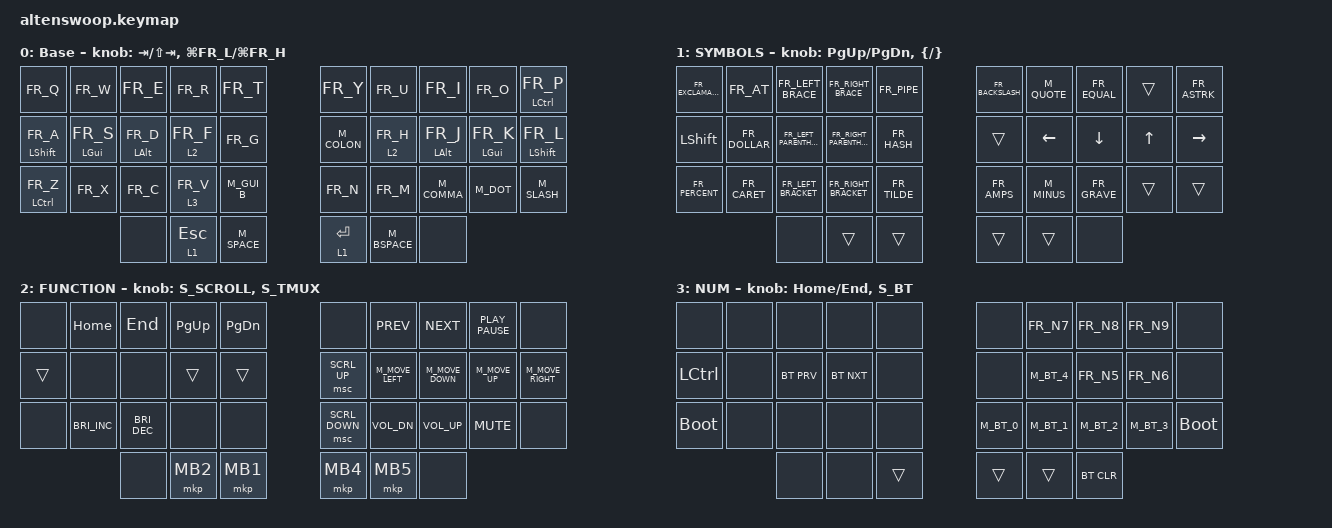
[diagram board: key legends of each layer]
/*
 * Copyright (c) 2020 duckyb
 *
 * SPDX-License-Identifier: MIT
 */

#include "keys_fr.h"

#include <behaviors.dtsi>
#include <dt-bindings/zmk/bt.h>
#include <dt-bindings/zmk/keys.h>
#include <dt-bindings/zmk/pointing.h>

#define ENCODER_SCROLL_VAL 80
#define ZMK_MOUSE_FAST_MOVE_VAL 1200
#define MOVE_FAST_UP MOVE_Y(-ZMK_MOUSE_FAST_MOVE_VAL)
#define MOVE_FAST_DOWN MOVE_Y(ZMK_MOUSE_FAST_MOVE_VAL)
#define MOVE_FAST_LEFT MOVE_X(-ZMK_MOUSE_FAST_MOVE_VAL)
#define MOVE_FAST_RIGHT MOVE_X(ZMK_MOUSE_FAST_MOVE_VAL)

&mt {
    require-prior-idle-ms = <100>;
    flavor = "tap-preferred";
    quick-tap-ms = <200>;
};

/ {
    behaviors {
        tab_esc_ctrl: tab_esc_ctrl {
            compatible = "zmk,behavior-tap-dance";
            label = "TAB_ESC_CTRL";
            #binding-cells = <0>;
            bindings = <&mt LCTRL ESC>, <&kp TAB>;
        };

        gqt: global-quick-tap {
            compatible = "zmk,behavior-hold-tap";
            label = "GLOBAL_QUICK_TAP";
            bindings = <&kp>, <&kp>;

            #binding-cells = <2>;
            quick-tap-ms = <180>;
            tapping-term-ms = <200>;
            global-quick-tap;
        };

        ltq: ltq {
            compatible = "zmk,behavior-hold-tap";
            label = "LTQ";
            bindings = <&mo>, <&kp>;

            #binding-cells = <2>;
            global-quick-tap;
            tapping-term-ms = <200>;
            quick-tap-ms = <180>;
        };

        M_BSPACE: M_BSPACE {
            compatible = "zmk,behavior-mod-morph";
            label = "M_BSPACE";
            bindings = <&kp BACKSPACE>, <&kp DELETE>;

            #binding-cells = <0>;
            mods = <(MOD_LSFT)>;
        };

        M_COLON: M_COLON {
            compatible = "zmk,behavior-mod-morph";
            label = "M_COLON";
            bindings = <&kp FR_COLON>, <&kp FR_SEMICOLON>;

            #binding-cells = <0>;
            mods = <(MOD_LSFT)>;
        };

        M_QUOTE: M_QUOTE {
            compatible = "zmk,behavior-mod-morph";
            label = "M_QUOTE";
            bindings = <&kp FR_SINGLE_QUOTE>, <&kp FR_DOUBLE_QUOTES>;

            #binding-cells = <0>;
            mods = <(MOD_LSFT)>;
        };

        M_BSLASH: M_BSLASH {
            compatible = "zmk,behavior-mod-morph";
            label = "M_BSLASH";
            bindings = <&kp FR_BACKSLASH>, <&kp FR_PIPE>;

            #binding-cells = <0>;
            mods = <(MOD_LSFT)>;
        };

        M_COMMA: M_COMMA {
            compatible = "zmk,behavior-mod-morph";
            label = "M_COMMA";
            bindings = <&kp FR_COMMA>, <&kp FR_LESS_THAN>;

            #binding-cells = <0>;
            mods = <(MOD_LSFT)>;
        };

        M_DOT: M_DOT {
            compatible = "zmk,behavior-mod-morph";
            label = "M_DOT";
            bindings = <&kp FR_DOT>, <&kp FR_GREATER_THAN>;

            #binding-cells = <0>;
            mods = <(MOD_LSFT)>;
        };

        M_SLASH: M_SLASH {
            compatible = "zmk,behavior-mod-morph";
            label = "M_SLASH";
            bindings = <&kp FR_SLASH>, <&kp FR_QUESTION>;

            #binding-cells = <0>;
            mods = <(MOD_LSFT)>;
        };

        M_MINUS: M_MINUS {
            compatible = "zmk,behavior-mod-morph";
            label = "M_MINUS";
            bindings = <&kp FR_MINUS>, <&kp FR_UNDERSCORE>;

            #binding-cells = <0>;
            mods = <(MOD_LSFT)>;
        };

        M_GRAVE: M_GRAVE {
            compatible = "zmk,behavior-mod-morph";
            label = "M_GRAVE";
            bindings = <&kp FR_GRAVE>, <&kp FR_TILDE>;

            #binding-cells = <0>;
            mods = <(MOD_LSFT)>;
        };

        M_SPACE: M_SPACE {
            compatible = "zmk,behavior-mod-morph";
            label = "M_SPACE";
            bindings = <&kp SPACE>, <&kp TAB>;

            #binding-cells = <0>;
            mods = <(MOD_LSFT)>;
        };

        M_GUI_B: M_GUI_B {
            compatible = "zmk,behavior-mod-morph";
            label = "M_GUI_B";
            bindings = <&kp FR_B>, <&kp LC(FR_B)>;

            #binding-cells = <0>;
            mods = <(MOD_LGUI)>;
        };

        M_MOVE_LEFT: M_MOVE_LEFT {
            compatible = "zmk,behavior-mod-morph";
            label = "M_MOVE_LEFT";
            bindings = <&mmv MOVE_LEFT>, <&mmv MOVE_FAST_LEFT>;

            #binding-cells = <0>;
            mods = <(MOD_LSFT)>;
        };

        M_MOVE_DOWN: M_MOVE_DOWN {
            compatible = "zmk,behavior-mod-morph";
            label = "M_MOVE_DOWN";
            bindings = <&mmv MOVE_DOWN>, <&mmv MOVE_FAST_DOWN>;

            #binding-cells = <0>;
            mods = <(MOD_LSFT)>;
        };

        M_MOVE_UP: M_MOVE_UP {
            compatible = "zmk,behavior-mod-morph";
            label = "M_MOVE_UP";
            bindings = <&mmv MOVE_UP>, <&mmv MOVE_FAST_UP>;

            #binding-cells = <0>;
            mods = <(MOD_LSFT)>;
        };

        M_MOVE_RIGHT: M_MOVE_RIGHT {
            compatible = "zmk,behavior-mod-morph";
            label = "M_MOVE_RIGHT";
            bindings = <&mmv MOVE_RIGHT>, <&mmv MOVE_FAST_RIGHT>;

            #binding-cells = <0>;
            mods = <(MOD_LSFT)>;
        };

        S_TMUX: S_TMUX {
            compatible = "zmk,behavior-sensor-rotate";
            label = "S_TMUX";
            #sensor-binding-cells = <0>;
            bindings = <&M_TMUX_N>, <&M_TMUX_P>;
        };

        S_BT: S_BT {
            compatible = "zmk,behavior-sensor-rotate";
            label = "S_BT";
            #sensor-binding-cells = <0>;
            bindings = <&bt BT_NXT>, <&bt BT_PRV>;
        };

        S_SCROLL: S_SCROLL {
            compatible = "zmk,behavior-sensor-rotate";
            label = "S_SCROLL";
            #sensor-binding-cells = <0>;
            bindings = <&msc MOVE_Y(-ENCODER_SCROLL_VAL)>, <&msc MOVE_Y(ENCODER_SCROLL_VAL)>;
            tap-ms = <20>;
        };

        M_BT_0: M_BT_0 {
            compatible = "zmk,behavior-mod-morph";
            label = "M_BT_0";
            bindings = <&kp FR_N0>, <&bt BT_SEL 0>;

            #binding-cells = <0>;
            mods = <(MOD_LCTL)>;
        };

        M_BT_1: M_BT_1 {
            compatible = "zmk,behavior-mod-morph";
            label = "M_BT_1";
            bindings = <&kp FR_N1>, <&bt BT_SEL 1>;

            #binding-cells = <0>;
            mods = <(MOD_LCTL)>;
        };

        M_BT_2: M_BT_2 {
            compatible = "zmk,behavior-mod-morph";
            label = "M_BT_2";
            bindings = <&kp FR_N2>, <&bt BT_SEL 2>;

            #binding-cells = <0>;
            mods = <(MOD_LCTL)>;
        };

        M_BT_3: M_BT_3 {
            compatible = "zmk,behavior-mod-morph";
            label = "M_BT_3";
            bindings = <&kp FR_N3>, <&bt BT_SEL 3>;

            #binding-cells = <0>;
            mods = <(MOD_LCTL)>;
        };

        M_BT_4: M_BT_4 {
            compatible = "zmk,behavior-mod-morph";
            label = "M_BT_4";
            bindings = <&kp FR_N4>, <&bt BT_SEL 4>;

            #binding-cells = <0>;
            mods = <(MOD_LCTL)>;
        };
    };

    combos {
        compatible = "zmk,combos";

        CB_E_ACUTE {
            bindings = <&kp FR_E_ACUTE>;
            key-positions = <2 16>;
            layers = <0>;
        };

        CB_E_CIRC {
            bindings = <&FR_E_CIRC>;
            key-positions = <2 17>;
            layers = <0>;
        };

        CB_E_GRAVE {
            bindings = <&kp FR_E_GRAVE>;
            key-positions = <2 18>;
            layers = <0>;
        };

        CB_E_TRM {
            bindings = <&FR_E_TRM>;
            key-positions = <2 19>;
            layers = <0>;
        };

        CB_A_ACUTE {
            bindings = <&none>;
            key-positions = <10 16>;
            layers = <0>;
        };

        CB_A_CIRC {
            bindings = <&FR_A_CIRC>;
            key-positions = <10 17>;
            layers = <0>;
        };

        CB_A_GRAVE {
            bindings = <&kp FR_A_GRAVE>;
            key-positions = <10 18>;
            layers = <0>;
        };

        CB_A_TRM {
            bindings = <&FR_A_TRM>;
            key-positions = <10 19>;
            layers = <0>;
        };

        CB_O_ACUTE {
            bindings = <&none>;
            key-positions = <8 11>;
            layers = <0>;
        };

        CB_O_CIRC {
            bindings = <&FR_O_CIRC>;
            key-positions = <12 8>;
            layers = <0>;
        };

        CB_O_GRAVE {
            bindings = <&none>;
            key-positions = <8 13>;
            layers = <0>;
        };

        CB_O_TRM {
            bindings = <&FR_O_TRM>;
            key-positions = <14 8>;
            layers = <0>;
        };

        CB_I_ACUTE {
            bindings = <&none>;
            key-positions = <7 11>;
            layers = <0>;
        };

        CB_I_CIRC {
            bindings = <&FR_I_CIRC>;
            key-positions = <12 7>;
            layers = <0>;
        };

        CB_I_GRAVE {
            bindings = <&none>;
            key-positions = <13 7>;
            layers = <0>;
        };

        CB_I_TRM {
            bindings = <&FR_I_TRM>;
            key-positions = <14 7>;
            layers = <0>;
        };

        CB_U_ACUTE {
            bindings = <&none>;
            key-positions = <6 11>;
            layers = <0>;
        };

        CB_U_CIRC {
            bindings = <&FR_U_CIRC>;
            key-positions = <6 12>;
            layers = <0>;
        };

        CB_U_GRAVE {
            bindings = <&kp FR_U_GRAVE>;
            key-positions = <13 6>;
            layers = <0>;
        };

        CB_U_TRM {
            bindings = <&FR_U_TRM>;
            key-positions = <14 6>;
            layers = <0>;
        };

        CB_C_CED {
            bindings = <&kp FR_C_CEDILLA>;
            key-positions = <16 22>;
            layers = <0>;
        };
    };

    macros {
        FR_E_CIRC: FR_E_CIRC {
            compatible = "zmk,behavior-macro";
            label = "FR_E_CIRC";
            #binding-cells = <0>;
            bindings = <&kp FR_CARET &kp FR_E>;
        };

        FR_A_CIRC: FR_A_CIRC {
            compatible = "zmk,behavior-macro";
            label = "FR_A_CIRC";
            #binding-cells = <0>;
            bindings = <&kp FR_CARET &kp FR_A>;
        };

        FR_O_CIRC: FR_O_CIRC {
            compatible = "zmk,behavior-macro";
            label = "FR_O_CIRC";
            #binding-cells = <0>;
            bindings = <&kp FR_CARET &kp FR_O>;
        };

        FR_I_CIRC: FR_I_CIRC {
            compatible = "zmk,behavior-macro";
            label = "FR_I_CIRC";
            #binding-cells = <0>;
            bindings = <&kp FR_CARET &kp FR_I>;
        };

        FR_E_TRM: FR_E_TRM {
            compatible = "zmk,behavior-macro";
            label = "FR_E_TRM";
            #binding-cells = <0>;
            bindings = <&kp LS(FR_CARET) &kp FR_E>;
        };

        FR_A_TRM: FR_A_TRM {
            compatible = "zmk,behavior-macro";
            label = "FR_A_TRM";
            #binding-cells = <0>;
            bindings = <&kp LS(FR_CARET) &kp FR_A>;
        };

        FR_O_TRM: FR_O_TRM {
            compatible = "zmk,behavior-macro";
            label = "FR_O_TRM";
            #binding-cells = <0>;
            bindings = <&kp LS(FR_CARET) &kp FR_O>;
        };

        FR_I_TRM: FR_I_TRM {
            compatible = "zmk,behavior-macro";
            label = "FR_I_TRM";
            #binding-cells = <0>;
            bindings = <&kp LS(FR_CARET) &kp FR_I>;
        };

        FR_U_CIRC: FR_U_CIRC {
            compatible = "zmk,behavior-macro";
            label = "FR_U_CIRC";
            #binding-cells = <0>;
            bindings = <&kp FR_CARET &kp FR_U>;
        };

        FR_U_TRM: FR_U_TRM {
            compatible = "zmk,behavior-macro";
            label = "FR_U_TRM";
            #binding-cells = <0>;
            bindings = <&kp LS(FR_CARET) &kp FR_U>;
        };

        M_TMUX_N: M_TMUX_N {
            compatible = "zmk,behavior-macro";
            #binding-cells = <0>;
            bindings = <&kp LC(FR_B) &kp FR_N>;
            label = "M_TMUX_N";
        };

        M_TMUX_P: M_TMUX_P {
            compatible = "zmk,behavior-macro";
            #binding-cells = <0>;
            bindings = <&kp LC(FR_B) &kp FR_P>;
            label = "M_TMUX_P";
        };
    };

    keymap {
        compatible = "zmk,keymap";

        base {
            label = "Base";
            bindings = <
&kp FR_Q        &kp FR_W       &kp FR_E       &kp FR_R    &kp FR_T    &kp FR_Y     &kp FR_U    &kp FR_I       &kp FR_O       &mt LEFT_CONTROL FR_P
&mt LSHFT FR_A  &mt LGUI FR_S  &mt LALT FR_D  &lt 2 FR_F  &kp FR_G    &M_COLON     &lt 2 FR_H  &mt LALT FR_J  &mt LGUI FR_K  &mt LSHFT FR_L
&mt LCTRL FR_Z  &kp FR_X       &kp FR_C       &lt 3 FR_V  &M_GUI_B    &kp FR_N     &kp FR_M    &M_COMMA       &M_DOT         &M_SLASH
                               &none          &lt 1 ESC   &M_SPACE    &lt 1 ENTER  &M_BSPACE   &none
            >;

            sensor-bindings =
                <&inc_dec_kp TAB LS(TAB)>,
                <&inc_dec_kp LG(FR_L) LG(FR_H)>;
        };

        symbols {
            label = "SYMBOLS";
            bindings = <
&kp FR_EXCLAMATION  &kp FR_AT      &kp FR_LEFT_BRACE        &kp FR_RIGHT_BRACE        &kp FR_PIPE     &kp FR_BACKSLASH  &M_QUOTE  &kp FR_EQUAL  &trans  &kp FR_ASTRK
&kp LSHIFT          &kp FR_DOLLAR  &kp FR_LEFT_PARENTHESIS  &kp FR_RIGHT_PARENTHESIS  &kp FR_HASH     &trans            &kp LEFT  &kp DOWN      &kp UP  &kp RIGHT
&kp FR_PERCENT      &kp FR_CARET   &kp FR_LEFT_BRACKET      &kp FR_RIGHT_BRACKET      &kp FR_TILDE    &kp FR_AMPS       &M_MINUS  &kp FR_GRAVE  &trans  &trans
                                   &none                    &trans                    &trans          &trans            &trans    &none
            >;

            sensor-bindings =
                <&inc_dec_kp PAGE_UP PAGE_DOWN>,
                <&inc_dec_kp LBRC RBRC>;
        };

        function {
            label = "FUNCTION";
            bindings = <
&none   &kp HOME              &kp END               &kp PAGE_UP  &kp PAGE_DOWN    &none           &kp K_PREV    &kp K_NEXT    &kp K_PLAY_PAUSE  &none
&trans  &none                 &none                 &trans       &trans           &msc SCRL_UP    &M_MOVE_LEFT  &M_MOVE_DOWN  &M_MOVE_UP        &M_MOVE_RIGHT
&none   &kp C_BRIGHTNESS_INC  &kp C_BRIGHTNESS_DEC  &none        &none            &msc SCRL_DOWN  &kp C_VOL_DN  &kp C_VOL_UP  &kp C_MUTE        &none
                              &none                 &mkp MB2     &mkp MB1         &mkp MB4        &mkp MB5      &none
            >;

            sensor-bindings = <&S_SCROLL>, <&S_TMUX>;
        };

        numpad {
            bindings = <
&none        &none  &none       &none       &none     &none    &kp FR_N7  &kp FR_N8   &kp FR_N9  &none
&kp LCTRL    &none  &bt BT_PRV  &bt BT_NXT  &none     &none    &M_BT_4    &kp FR_N5   &kp FR_N6  &none
&bootloader  &none  &none       &none       &none     &M_BT_0  &M_BT_1    &M_BT_2     &M_BT_3    &bootloader
                    &none       &none       &trans    &trans   &trans     &bt BT_CLR
            >;

            label = "NUM";
            sensor-bindings = <&inc_dec_kp HOME END>, <&S_BT>;
        };
    };
};
